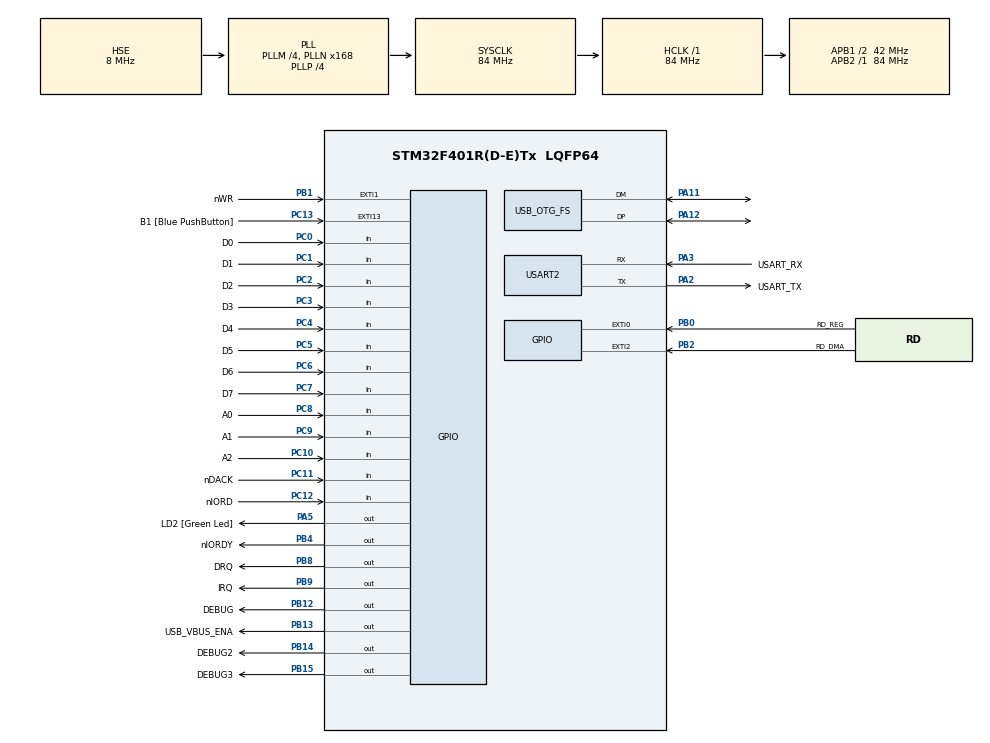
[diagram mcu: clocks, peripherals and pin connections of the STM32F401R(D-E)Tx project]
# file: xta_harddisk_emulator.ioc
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Mcu.Family=STM32F4
Mcu.Name=STM32F401R(D-E)Tx
Mcu.Package=LQFP64
NVIC.EXTI0_IRQn=true\:0\:0\:false\:true\:false\:2\:true\:false
NVIC.EXTI1_IRQn=true\:0\:0\:false\:true\:false\:1\:true\:false
NVIC.EXTI2_IRQn=true\:0\:0\:false\:true\:false\:3\:true\:false
NVIC.OTG_FS_IRQn=true\:1\:0\:true\:false\:true\:false\:true
NVIC.PriorityGroup=NVIC_PRIORITYGROUP_2
PA11.Mode=Host_Only
PA11.Signal=USB_OTG_FS_DM
PA12.Mode=Host_Only
PA12.Signal=USB_OTG_FS_DP
PA13.GPIO_Label=TMS
PA13.Mode=Serial_Wire
PA13.Signal=SYS_JTMS-SWDIO
PA14.GPIO_Label=TCK
PA14.Mode=Serial_Wire
PA14.Signal=SYS_JTCK-SWCLK
PA2.GPIO_Label=USART_TX
PA2.GPIO_Mode=GPIO_MODE_AF_PP
PA2.GPIO_PuPd=GPIO_NOPULL
PA2.GPIO_Speed=GPIO_SPEED_FREQ_LOW
PA2.Mode=Asynchronous
PA2.Signal=USART2_TX
PA3.GPIO_Label=USART_RX
PA3.GPIO_Mode=GPIO_MODE_AF_PP
PA3.GPIO_PuPd=GPIO_NOPULL
PA3.GPIO_Speed=GPIO_SPEED_FREQ_LOW
PA3.Mode=Asynchronous
PA3.Signal=USART2_RX
PA5.GPIO_Label=LD2 [Green Led]
PA5.GPIO_Mode=GPIO_MODE_OUTPUT_PP
PA5.GPIO_PuPd=GPIO_NOPULL
PA5.GPIO_Speed=GPIO_SPEED_FREQ_HIGH
PA5.Signal=GPIO_Output
PB0.GPIO_Label=RD_REG
PB0.Signal=GPXTI0
PB1.GPIO_Label=nWR
PB1.GPIO_ModeDefaultEXTI=GPIO_MODE_IT_FALLING
PB1.GPIO_PuPd=GPIO_NOPULL
PB1.Signal=GPXTI1
PB12.GPIO_Label=DEBUG
PB12.GPIO_Speed=GPIO_SPEED_FREQ_HIGH
PB12.Signal=GPIO_Output
PB13.GPIO_Label=USB_VBUS_ENA
PB13.GPIO_Speed=GPIO_SPEED_FREQ_HIGH
PB13.Signal=GPIO_Output
PB14.GPIO_Label=DEBUG2
PB14.GPIO_Speed=GPIO_SPEED_FREQ_HIGH
PB14.Signal=GPIO_Output
PB15.GPIO_Label=DEBUG3
PB15.GPIO_Speed=GPIO_SPEED_FREQ_HIGH
PB15.Signal=GPIO_Output
PB2.GPIO_Label=RD_DMA
PB2.Signal=GPXTI2
PB3.GPIO_Label=SWO
PB3.Signal=SYS_JTDO-SWO
PB4.GPIO_Label=nIORDY
PB4.GPIO_Speed=GPIO_SPEED_FREQ_HIGH
PB4.Signal=GPIO_Output
PB8.GPIO_Label=DRQ
PB8.GPIO_ModeDefaultOutputPP=GPIO_MODE_OUTPUT_PP
PB8.GPIO_Speed=GPIO_SPEED_FREQ_HIGH
PB8.PinState=GPIO_PIN_RESET
PB8.Signal=GPIO_Output
PB9.GPIO_Label=IRQ
PB9.GPIO_ModeDefaultOutputPP=GPIO_MODE_OUTPUT_PP
PB9.GPIO_Speed=GPIO_SPEED_FREQ_HIGH
PB9.PinState=GPIO_PIN_RESET
PB9.Signal=GPIO_Output
PC0.GPIO_Label=D0
PC0.Signal=GPIO_Input
PC1.GPIO_Label=D1
PC1.Signal=GPIO_Input
PC10.GPIO_Label=A2
PC10.GPIO_PuPd=GPIO_PULLDOWN
PC10.Signal=GPIO_Input
PC11.GPIO_Label=nDACK
PC11.GPIO_PuPd=GPIO_PULLDOWN
PC11.Signal=GPIO_Input
PC12.GPIO_Label=nIORD
PC12.Signal=GPIO_Input
PC13-ANTI_TAMP.GPIO_Label=B1 [Blue PushButton]
PC13-ANTI_TAMP.GPIO_ModeDefaultEXTI=GPIO_MODE_IT_FALLING
PC13-ANTI_TAMP.GPIO_PuPd=GPIO_NOPULL
PC13-ANTI_TAMP.Signal=GPXTI13
PC14-OSC32_IN.Mode=LSE-External-Oscillator
PC14-OSC32_IN.Signal=RCC_OSC32_IN
PC15-OSC32_OUT.Mode=LSE-External-Oscillator
PC15-OSC32_OUT.Signal=RCC_OSC32_OUT
PC2.GPIO_Label=D2
PC2.Signal=GPIO_Input
PC3.GPIO_Label=D3
PC3.Signal=GPIO_Input
PC4.GPIO_Label=D4
PC4.Signal=GPIO_Input
PC5.GPIO_Label=D5
PC5.Signal=GPIO_Input
PC6.GPIO_Label=D6
PC6.Signal=GPIO_Input
PC7.GPIO_Label=D7
PC7.Signal=GPIO_Input
PC8.GPIO_Label=A0
PC8.GPIO_PuPd=GPIO_PULLDOWN
PC8.Signal=GPIO_Input
PC9.GPIO_Label=A1
PC9.GPIO_PuPd=GPIO_PULLDOWN
PC9.Signal=GPIO_Input
PH0\ -\ OSC_IN.Mode=HSE-External-Clock-Source
PH0\ -\ OSC_IN.Signal=RCC_OSC_IN
PH1\ -\ OSC_OUT.Mode=HSE-External-Clock-Source
PH1\ -\ OSC_OUT.Signal=RCC_OSC_OUT
ProjectManager.HeapSize=0x200
ProjectManager.StackSize=0x400
ProjectManager.TargetToolchain=STM32CubeIDE
RCC.48MHZClocksFreq_Value=48000000
RCC.AHBFreq_Value=84000000
RCC.APB1CLKDivider=RCC_HCLK_DIV2
RCC.APB1Freq_Value=42000000
RCC.APB1TimFreq_Value=84000000
RCC.APB2Freq_Value=84000000
RCC.APB2TimFreq_Value=84000000
RCC.CortexFreq_Value=84000000
RCC.HCLKFreq_Value=84000000
RCC.HSE_VALUE=8000000
RCC.HSI_VALUE=16000000
RCC.PLLM=4
RCC.PLLN=168
RCC.PLLP=RCC_PLLP_DIV4
RCC.PLLQ=7
RCC.SYSCLKFreq_VALUE=84000000
RCC.SYSCLKSource=RCC_SYSCLKSOURCE_PLLCLK
RCC.VCOOutputFreq_Value=336000000
USART2.VirtualMode=VM_ASYNC
USB_HOST.BSP.number=1
USB_HOST.USBH_DEBUG_LEVEL-MSC_FS=3
USB_HOST.USBH_HandleTypeDef-MSC_FS=hUsbHostFS
USB_HOST.VirtualModeFS=Msc
USB_HOST0.BSP.STBoard=false
USB_HOST0.BSP.api=Unknown
USB_HOST0.BSP.i2caddr=0
USB_HOST0.BSP.instance=PB13
USB_HOST0.BSP.ip=GPIO
USB_HOST0.BSP.mode=Output
USB_HOST0.BSP.name=Drive_VBUS_FS
USB_HOST0.BSP.solution=PB13
USB_OTG_FS.VirtualMode=Host_Only
USB_OTG_FS.phy_itface=HCD_PHY_EMBEDDED
VP_USB_HOST_VS_USB_HOST_MSC_FS.Mode=MSC_FS
board=NUCLEO-F401RE

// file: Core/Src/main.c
/* USER CODE BEGIN Header */
/**
  ******************************************************************************
  * @file           : main.c
  * @brief          : Main program body
  ******************************************************************************
  * @attention
  *
  * <h2><center>&copy; Copyright (c) 2021 STMicroelectronics.
  * All rights reserved.</center></h2>
  *
  * This software component is licensed by ST under BSD 3-Clause license,
  * the "License"; You may not use this file except in compliance with the
  * License. You may obtain a copy of the License at:
  *                        opensource.org/licenses/BSD-3-Clause
  *
  ******************************************************************************
  */
/* USER CODE END Header */
#include "main.h"
#include "usb_host.h"

/* USER CODE BEGIN Includes */
#include <assert.h>
#include "usbh_msc.h"
#include "xta.h"
/* USER CODE END Includes */

UART_HandleTypeDef huart2;

void SystemClock_Config(void);
static void MX_GPIO_Init(void);
static void MX_USART2_UART_Init(void);
static void MX_NVIC_Init(void);
void MX_USB_HOST_Process(void);

/* USER CODE BEGIN 0 */

int _write(int fd, char* ptr, int len) {
  HAL_StatusTypeDef hstatus;

  hstatus = HAL_UART_Transmit(&huart2, (uint8_t *) ptr, len, HAL_MAX_DELAY);
  if (hstatus == HAL_OK) {
    return len;
  } else {
    return 0;
  }

}

// TODO: remove these, make a proper interface
extern uint8_t command_block[6];
extern uint8_t command_block_idx;
extern volatile uint8_t command_execute;
extern uint8_t regs[9];

extern USBH_HandleTypeDef hUsbHostFS;
/* USER CODE END 0 */

int main(void)
{

  /* MCU Configuration--------------------------------------------------------*/

  /* Reset of all peripherals, Initializes the Flash interface and the Systick. */
  HAL_Init();

  /* Configure the system clock */
  SystemClock_Config();

  /* Initialize all configured peripherals */
  MX_GPIO_Init();
  MX_USART2_UART_Init();
  MX_USB_HOST_Init();

  /* Initialize interrupts */
  MX_NVIC_Init();
  /* USER CODE BEGIN 2 */

  xta_init();
  GPIOC->OSPEEDR = 0xffff;

  /* USER CODE END 2 */

  /* Infinite loop */
  /* USER CODE BEGIN WHILE */

  USBH_StatusTypeDef result = 0;
  uint8_t buffer[2][512];
  int ibuf=0;

  printf("Starting\n");
  USBH_UsrLog("Log bla bla");
  uint32_t lba=0, block_cnt=0;
  int command = 0;

  while (1)
  {
	  // TODO: sync using register 0x322

	  command = xta_get_command(&lba, &block_cnt);
	  ibuf=0;
	  if (command>=0) {

		  xta_clear_irq();
		  printf("Command %02x LBA=%lu, size=%lu \n", command, lba, block_cnt);

		  if ((command==CMD_READ) || (command==CMD_VERIFY)) { // read or verify

			  // Fetch first sector
			  //DEBUG_GPIO_Port->BSRR = DEBUG_Pin;
			  result = USBH_MSC_Read(&hUsbHostFS, 0, lba++, buffer[ibuf], 1);
			  //DEBUG_GPIO_Port->BSRR = DEBUG_Pin<<16;

			  for (int i=block_cnt;i;i--) {
				  if (result) printf("ERROR IN READ"); // TODO: return error via sense

				  // Start data transfer in case of read command (no data for verify command)
				  if (command == CMD_READ) {
					  xta_dma_read_transfer_start(buffer[ibuf]);
				  }

				  // While transfer is going on, fetch next data into the other buffer
				  ibuf=1-ibuf;
				  if (i>1) {
					  //DEBUG_GPIO_Port->BSRR = DEBUG_Pin;
					  result = USBH_MSC_Read(&hUsbHostFS, 0, lba++, buffer[ibuf], 1);
					  //DEBUG_GPIO_Port->BSRR = DEBUG_Pin<<16;
				  }

				  if (command == CMD_READ) {
					  //regs[2]|=2; // data available // todo: lock-free interrupt safe implementation
					  xta_dma_waitfinish();
				  }

			  }

		  } else if (command==CMD_WRITE) {
			  for (int i=0;i<block_cnt;i++) {
				  //regs[2]|=2; // ready for dma // todo: lock-free interrupt safe implementation
				  xta_dma_write_transfer_start(buffer[0]);
				  xta_dma_waitfinish();

				  result = USBH_MSC_Write(&hUsbHostFS, 0, lba + i, buffer[0], 1);
				  if (result) printf("ERROR IN WRITE"); // TODO: return error via sense

			  }
		  } else {
			  printf("INVALID COMMAND");

		  }

	      xta_set_irq();
	      //regs[2] &=~(2|4);// todo: lock-free interrupt safe implementation
		  printf("DONE\n");

	  }

    /* USER CODE END WHILE */
    MX_USB_HOST_Process();

  }
}

void SystemClock_Config(void)
{
  RCC_OscInitTypeDef RCC_OscInitStruct = {0};
  RCC_ClkInitTypeDef RCC_ClkInitStruct = {0};

  /** Configure the main internal regulator output voltage
  */
  __HAL_RCC_PWR_CLK_ENABLE();
  __HAL_PWR_VOLTAGESCALING_CONFIG(PWR_REGULATOR_VOLTAGE_SCALE2);
  /** Initializes the RCC Oscillators according to the specified parameters
  * in the RCC_OscInitTypeDef structure.
  */
  RCC_OscInitStruct.OscillatorType = RCC_OSCILLATORTYPE_HSE;
  RCC_OscInitStruct.HSEState = RCC_HSE_BYPASS;
  RCC_OscInitStruct.PLL.PLLState = RCC_PLL_ON;
  RCC_OscInitStruct.PLL.PLLSource = RCC_PLLSOURCE_HSE;
  RCC_OscInitStruct.PLL.PLLM = 4;
  RCC_OscInitStruct.PLL.PLLN = 168;
  RCC_OscInitStruct.PLL.PLLP = RCC_PLLP_DIV4;
  RCC_OscInitStruct.PLL.PLLQ = 7;
  if (HAL_RCC_OscConfig(&RCC_OscInitStruct) != HAL_OK)
  {
    Error_Handler();
  }
  /** Initializes the CPU, AHB and APB buses clocks
  */
  RCC_ClkInitStruct.ClockType = RCC_CLOCKTYPE_HCLK|RCC_CLOCKTYPE_SYSCLK
                              |RCC_CLOCKTYPE_PCLK1|RCC_CLOCKTYPE_PCLK2;
  RCC_ClkInitStruct.SYSCLKSource = RCC_SYSCLKSOURCE_PLLCLK;
  RCC_ClkInitStruct.AHBCLKDivider = RCC_SYSCLK_DIV1;
  RCC_ClkInitStruct.APB1CLKDivider = RCC_HCLK_DIV2;
  RCC_ClkInitStruct.APB2CLKDivider = RCC_HCLK_DIV1;

  if (HAL_RCC_ClockConfig(&RCC_ClkInitStruct, FLASH_LATENCY_2) != HAL_OK)
  {
    Error_Handler();
  }
}

/**
  * @brief NVIC Configuration.
  * @retval None
  */
static void MX_NVIC_Init(void)
{
  /* EXTI1_IRQn interrupt configuration */
  HAL_NVIC_SetPriority(EXTI1_IRQn, 0, 0);
  HAL_NVIC_EnableIRQ(EXTI1_IRQn);
  /* EXTI0_IRQn interrupt configuration */
  HAL_NVIC_SetPriority(EXTI0_IRQn, 0, 0);
  HAL_NVIC_EnableIRQ(EXTI0_IRQn);
  /* EXTI2_IRQn interrupt configuration */
  HAL_NVIC_SetPriority(EXTI2_IRQn, 0, 0);
  HAL_NVIC_EnableIRQ(EXTI2_IRQn);
}

static void MX_USART2_UART_Init(void)
{

  huart2.Instance = USART2;
  huart2.Init.BaudRate = 115200;
  huart2.Init.WordLength = UART_WORDLENGTH_8B;
  huart2.Init.StopBits = UART_STOPBITS_1;
  huart2.Init.Parity = UART_PARITY_NONE;
  huart2.Init.Mode = UART_MODE_TX_RX;
  huart2.Init.HwFlowCtl = UART_HWCONTROL_NONE;
  huart2.Init.OverSampling = UART_OVERSAMPLING_16;
  if (HAL_UART_Init(&huart2) != HAL_OK)
  {
    Error_Handler();
  }

}

static void MX_GPIO_Init(void)
{
  GPIO_InitTypeDef GPIO_InitStruct = {0};

  /* GPIO Ports Clock Enable */
  __HAL_RCC_GPIOC_CLK_ENABLE();
  __HAL_RCC_GPIOH_CLK_ENABLE();
  __HAL_RCC_GPIOA_CLK_ENABLE();
  __HAL_RCC_GPIOB_CLK_ENABLE();

  /*Configure GPIO pin Output Level */
  HAL_GPIO_WritePin(LD2_GPIO_Port, LD2_Pin, GPIO_PIN_RESET);

  /*Configure GPIO pin Output Level */
  HAL_GPIO_WritePin(GPIOB, DEBUG_Pin|USB_VBUS_ENA_Pin|DEBUG2_Pin|DEBUG3_Pin
                          |nIORDY_Pin|DRQ_Pin|IRQ_Pin, GPIO_PIN_RESET);

  /*Configure GPIO pin : B1_Pin */
  GPIO_InitStruct.Pin = B1_Pin;
  GPIO_InitStruct.Mode = GPIO_MODE_IT_FALLING;
  GPIO_InitStruct.Pull = GPIO_NOPULL;
  HAL_GPIO_Init(B1_GPIO_Port, &GPIO_InitStruct);

  /*Configure GPIO pins : D0_Pin D1_Pin D2_Pin D3_Pin
                           D4_Pin D5_Pin D6_Pin D7_Pin
                           nIORD_Pin */
  GPIO_InitStruct.Pin = D0_Pin|D1_Pin|D2_Pin|D3_Pin
                          |D4_Pin|D5_Pin|D6_Pin|D7_Pin
                          |nIORD_Pin;
  GPIO_InitStruct.Mode = GPIO_MODE_INPUT;
  GPIO_InitStruct.Pull = GPIO_NOPULL;
  HAL_GPIO_Init(GPIOC, &GPIO_InitStruct);

  /*Configure GPIO pin : LD2_Pin */
  GPIO_InitStruct.Pin = LD2_Pin;
  GPIO_InitStruct.Mode = GPIO_MODE_OUTPUT_PP;
  GPIO_InitStruct.Pull = GPIO_NOPULL;
  GPIO_InitStruct.Speed = GPIO_SPEED_FREQ_HIGH;
  HAL_GPIO_Init(LD2_GPIO_Port, &GPIO_InitStruct);

  /*Configure GPIO pins : RD_REG_Pin RD_DMA_Pin */
  GPIO_InitStruct.Pin = RD_REG_Pin|RD_DMA_Pin;
  GPIO_InitStruct.Mode = GPIO_MODE_IT_RISING;
  GPIO_InitStruct.Pull = GPIO_NOPULL;
  HAL_GPIO_Init(GPIOB, &GPIO_InitStruct);

  /*Configure GPIO pin : nWR_Pin */
  GPIO_InitStruct.Pin = nWR_Pin;
  GPIO_InitStruct.Mode = GPIO_MODE_IT_FALLING;
  GPIO_InitStruct.Pull = GPIO_NOPULL;
  HAL_GPIO_Init(nWR_GPIO_Port, &GPIO_InitStruct);

  /*Configure GPIO pins : DEBUG_Pin USB_VBUS_ENA_Pin DEBUG2_Pin DEBUG3_Pin
                           nIORDY_Pin DRQ_Pin IRQ_Pin */
  GPIO_InitStruct.Pin = DEBUG_Pin|USB_VBUS_ENA_Pin|DEBUG2_Pin|DEBUG3_Pin
                          |nIORDY_Pin|DRQ_Pin|IRQ_Pin;
  GPIO_InitStruct.Mode = GPIO_MODE_OUTPUT_PP;
  GPIO_InitStruct.Pull = GPIO_NOPULL;
  GPIO_InitStruct.Speed = GPIO_SPEED_FREQ_HIGH;
  HAL_GPIO_Init(GPIOB, &GPIO_InitStruct);

  /*Configure GPIO pins : A0_Pin A1_Pin A2_Pin nDACK_Pin */
  GPIO_InitStruct.Pin = A0_Pin|A1_Pin|A2_Pin|nDACK_Pin;
  GPIO_InitStruct.Mode = GPIO_MODE_INPUT;
  GPIO_InitStruct.Pull = GPIO_PULLDOWN;
  HAL_GPIO_Init(GPIOC, &GPIO_InitStruct);

}

void Error_Handler(void)
{
  __disable_irq();
  while (1)
  {
  }
}

/************************ (C) COPYRIGHT STMicroelectronics *****END OF FILE****/
